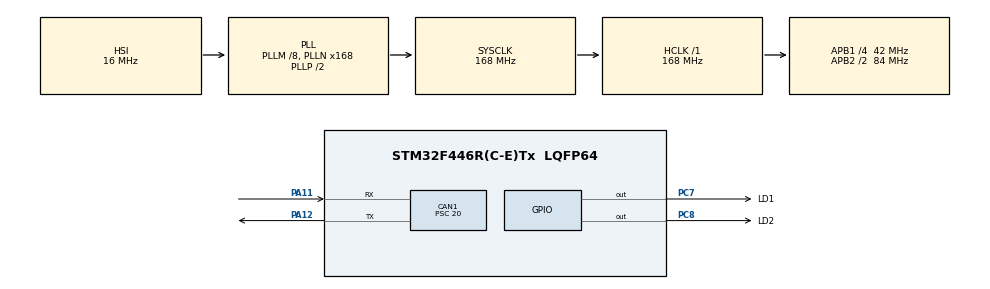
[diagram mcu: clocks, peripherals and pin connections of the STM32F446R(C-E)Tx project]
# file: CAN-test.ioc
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CAN1.BS1=CAN_BS1_12TQ
CAN1.BS2=CAN_BS2_8TQ
CAN1.CalculateBaudRate=100000
CAN1.CalculateTimeBit=10000
CAN1.CalculateTimeQuantum=476.1904761904762
CAN1.Mode=CAN_MODE_LOOPBACK
CAN1.Prescaler=20
Mcu.Family=STM32F4
Mcu.Name=STM32F446R(C-E)Tx
Mcu.Package=LQFP64
NVIC.CAN1_RX0_IRQn=true\:0\:0\:false\:false\:true\:true\:true\:true
NVIC.CAN1_RX1_IRQn=true\:0\:0\:false\:false\:true\:true\:true\:true
NVIC.PriorityGroup=NVIC_PRIORITYGROUP_4
PA11.Mode=CAN_Activate
PA11.Signal=CAN1_RX
PA12.Mode=CAN_Activate
PA12.Signal=CAN1_TX
PC7.GPIO_Label=LD1
PC7.Signal=GPIO_Output
PC8.GPIO_Label=LD2
PC8.Signal=GPIO_Output
PH0-OSC_IN.Mode=HSE-External-Oscillator
PH0-OSC_IN.Signal=RCC_OSC_IN
PH1-OSC_OUT.Mode=HSE-External-Oscillator
PH1-OSC_OUT.Signal=RCC_OSC_OUT
ProjectManager.HeapSize=0x200
ProjectManager.StackSize=0x400
ProjectManager.TargetToolchain=STM32CubeIDE
RCC.AHBFreq_Value=168000000
RCC.APB1CLKDivider=RCC_HCLK_DIV4
RCC.APB1Freq_Value=42000000
RCC.APB1TimFreq_Value=84000000
RCC.APB2CLKDivider=RCC_HCLK_DIV2
RCC.APB2Freq_Value=84000000
RCC.APB2TimFreq_Value=168000000
RCC.CortexFreq_Value=168000000
RCC.HCLKFreq_Value=168000000
RCC.PLLM=8
RCC.PLLN=168
RCC.PWR_Regulator_Voltage_Scale=PWR_REGULATOR_VOLTAGE_SCALE1
RCC.SYSCLKFreq_VALUE=168000000
RCC.SYSCLKSource=RCC_SYSCLKSOURCE_PLLCLK
RCC.USBFreq_Value=168000000
RCC.VCOOutputFreq_Value=336000000
board=custom

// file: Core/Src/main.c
/* USER CODE BEGIN Header */
/**
  ******************************************************************************
  * @file           : main.c
  * @brief          : Main program body
  ******************************************************************************
  * @attention
  *
  * Copyright (c) 2025 STMicroelectronics.
  * All rights reserved.
  *
  * This software is licensed under terms that can be found in the LICENSE file
  * in the root directory of this software component.
  * If no LICENSE file comes with this software, it is provided AS-IS.
  *
  ******************************************************************************
  */
/* USER CODE END Header */
#include "main.h"

CAN_HandleTypeDef hcan1;

void SystemClock_Config(void);
static void MX_GPIO_Init(void);
static void MX_CAN1_Init(void);

/* USER CODE BEGIN 0 */
CAN_TxHeaderTypeDef TxHeader;
CAN_RxHeaderTypeDef RxHeader;

uint32_t TxMailbox[4];

uint8_t RxData[8];

uint8_t count = 0;

void HAL_CAN_RxFifo0MsgPendingCallback(CAN_HandleTypeDef *hcan1)
{
	HAL_CAN_GetRxMessage(hcan1, CAN_RX_FIFO0, &RxHeader, RxData);
	count++;
	HAL_GPIO_TogglePin(LD1_GPIO_Port, LD1_Pin);
}
/* USER CODE END 0 */

int main(void)
{

  /* MCU Configuration--------------------------------------------------------*/

  /* Reset of all peripherals, Initializes the Flash interface and the Systick. */
  HAL_Init();

  /* Configure the system clock */
  SystemClock_Config();

  /* Initialize all configured peripherals */
  MX_GPIO_Init();
  MX_CAN1_Init();
  /* USER CODE BEGIN 2 */
  HAL_Delay(100);

  if (HAL_CAN_Start(&hcan1) != HAL_OK)
  {
	  Error_Handler();
  }

  if (HAL_CAN_ActivateNotification(&hcan1, CAN_IT_RX_FIFO0_MSG_PENDING) != HAL_OK)
  {
	  Error_Handler();
  }

  TxHeader.DLC = 1;
  TxHeader.ExtId = 0;
  TxHeader.IDE = CAN_ID_STD;
  TxHeader.RTR = CAN_RTR_DATA;
  TxHeader.StdId = 0x111;
  TxHeader.TransmitGlobalTime = DISABLE;

  HAL_Delay(100);
  /* USER CODE END 2 */

  /* Infinite loop */
  while (1)
  {

  }
}

void SystemClock_Config(void)
{
  RCC_OscInitTypeDef RCC_OscInitStruct = {0};
  RCC_ClkInitTypeDef RCC_ClkInitStruct = {0};

  /** Configure the main internal regulator output voltage
  */
  __HAL_RCC_PWR_CLK_ENABLE();
  __HAL_PWR_VOLTAGESCALING_CONFIG(PWR_REGULATOR_VOLTAGE_SCALE1);

  /** Initializes the RCC Oscillators according to the specified parameters
  * in the RCC_OscInitTypeDef structure.
  */
  RCC_OscInitStruct.OscillatorType = RCC_OSCILLATORTYPE_HSI;
  RCC_OscInitStruct.HSIState = RCC_HSI_ON;
  RCC_OscInitStruct.HSICalibrationValue = RCC_HSICALIBRATION_DEFAULT;
  RCC_OscInitStruct.PLL.PLLState = RCC_PLL_ON;
  RCC_OscInitStruct.PLL.PLLSource = RCC_PLLSOURCE_HSI;
  RCC_OscInitStruct.PLL.PLLM = 8;
  RCC_OscInitStruct.PLL.PLLN = 168;
  RCC_OscInitStruct.PLL.PLLP = RCC_PLLP_DIV2;
  RCC_OscInitStruct.PLL.PLLQ = 2;
  RCC_OscInitStruct.PLL.PLLR = 2;
  if (HAL_RCC_OscConfig(&RCC_OscInitStruct) != HAL_OK)
  {
    Error_Handler();
  }

  /** Initializes the CPU, AHB and APB buses clocks
  */
  RCC_ClkInitStruct.ClockType = RCC_CLOCKTYPE_HCLK|RCC_CLOCKTYPE_SYSCLK
                              |RCC_CLOCKTYPE_PCLK1|RCC_CLOCKTYPE_PCLK2;
  RCC_ClkInitStruct.SYSCLKSource = RCC_SYSCLKSOURCE_PLLCLK;
  RCC_ClkInitStruct.AHBCLKDivider = RCC_SYSCLK_DIV1;
  RCC_ClkInitStruct.APB1CLKDivider = RCC_HCLK_DIV4;
  RCC_ClkInitStruct.APB2CLKDivider = RCC_HCLK_DIV2;

  if (HAL_RCC_ClockConfig(&RCC_ClkInitStruct, FLASH_LATENCY_5) != HAL_OK)
  {
    Error_Handler();
  }
}

static void MX_CAN1_Init(void)
{

  hcan1.Instance = CAN1;
  hcan1.Init.Prescaler = 20;
  hcan1.Init.Mode = CAN_MODE_LOOPBACK;
  hcan1.Init.SyncJumpWidth = CAN_SJW_1TQ;
  hcan1.Init.TimeSeg1 = CAN_BS1_12TQ;
  hcan1.Init.TimeSeg2 = CAN_BS2_8TQ;
  hcan1.Init.TimeTriggeredMode = DISABLE;
  hcan1.Init.AutoBusOff = DISABLE;
  hcan1.Init.AutoWakeUp = DISABLE;
  hcan1.Init.AutoRetransmission = DISABLE;
  hcan1.Init.ReceiveFifoLocked = DISABLE;
  hcan1.Init.TransmitFifoPriority = DISABLE;
  if (HAL_CAN_Init(&hcan1) != HAL_OK)
  {
    Error_Handler();
  }
  /* USER CODE BEGIN CAN1_Init 2 */
  CAN_FilterTypeDef canfilterconfig;

  canfilterconfig.FilterActivation = CAN_FILTER_ENABLE;
  canfilterconfig.FilterBank = 10;  // anything between 0 to SlaveStartFilterBank
  canfilterconfig.FilterFIFOAssignment = CAN_RX_FIFO0;
  canfilterconfig.FilterIdHigh = 0;
  canfilterconfig.FilterIdLow = 0x0000;
  canfilterconfig.FilterMaskIdHigh = 0;
  canfilterconfig.FilterMaskIdLow = 0x0000;
  canfilterconfig.FilterMode = CAN_FILTERMODE_IDMASK;
  canfilterconfig.FilterScale = CAN_FILTERSCALE_32BIT;
  canfilterconfig.SlaveStartFilterBank = 13;  // 13 to 27 are assigned to slave CAN (CAN 2) OR 0 to 12 are assgned to CAN1

  HAL_CAN_ConfigFilter(&hcan1, &canfilterconfig);
  /* USER CODE END CAN1_Init 2 */

}

static void MX_GPIO_Init(void)
{
  GPIO_InitTypeDef GPIO_InitStruct = {0};

  /* GPIO Ports Clock Enable */
  __HAL_RCC_GPIOH_CLK_ENABLE();
  __HAL_RCC_GPIOC_CLK_ENABLE();
  __HAL_RCC_GPIOA_CLK_ENABLE();

  /*Configure GPIO pin Output Level */
  HAL_GPIO_WritePin(GPIOC, LD1_Pin|LD2_Pin, GPIO_PIN_RESET);

  /*Configure GPIO pins : LD1_Pin LD2_Pin */
  GPIO_InitStruct.Pin = LD1_Pin|LD2_Pin;
  GPIO_InitStruct.Mode = GPIO_MODE_OUTPUT_PP;
  GPIO_InitStruct.Pull = GPIO_NOPULL;
  GPIO_InitStruct.Speed = GPIO_SPEED_FREQ_LOW;
  HAL_GPIO_Init(GPIOC, &GPIO_InitStruct);

}

void Error_Handler(void)
{
  /* USER CODE BEGIN Error_Handler_Debug */
  /* User can add his own implementation to report the HAL error return state */
  __disable_irq();
  HAL_GPIO_TogglePin(LD2_GPIO_Port, LD2_Pin);
  while (1)
  {

  }
  /* USER CODE END Error_Handler_Debug */
}
